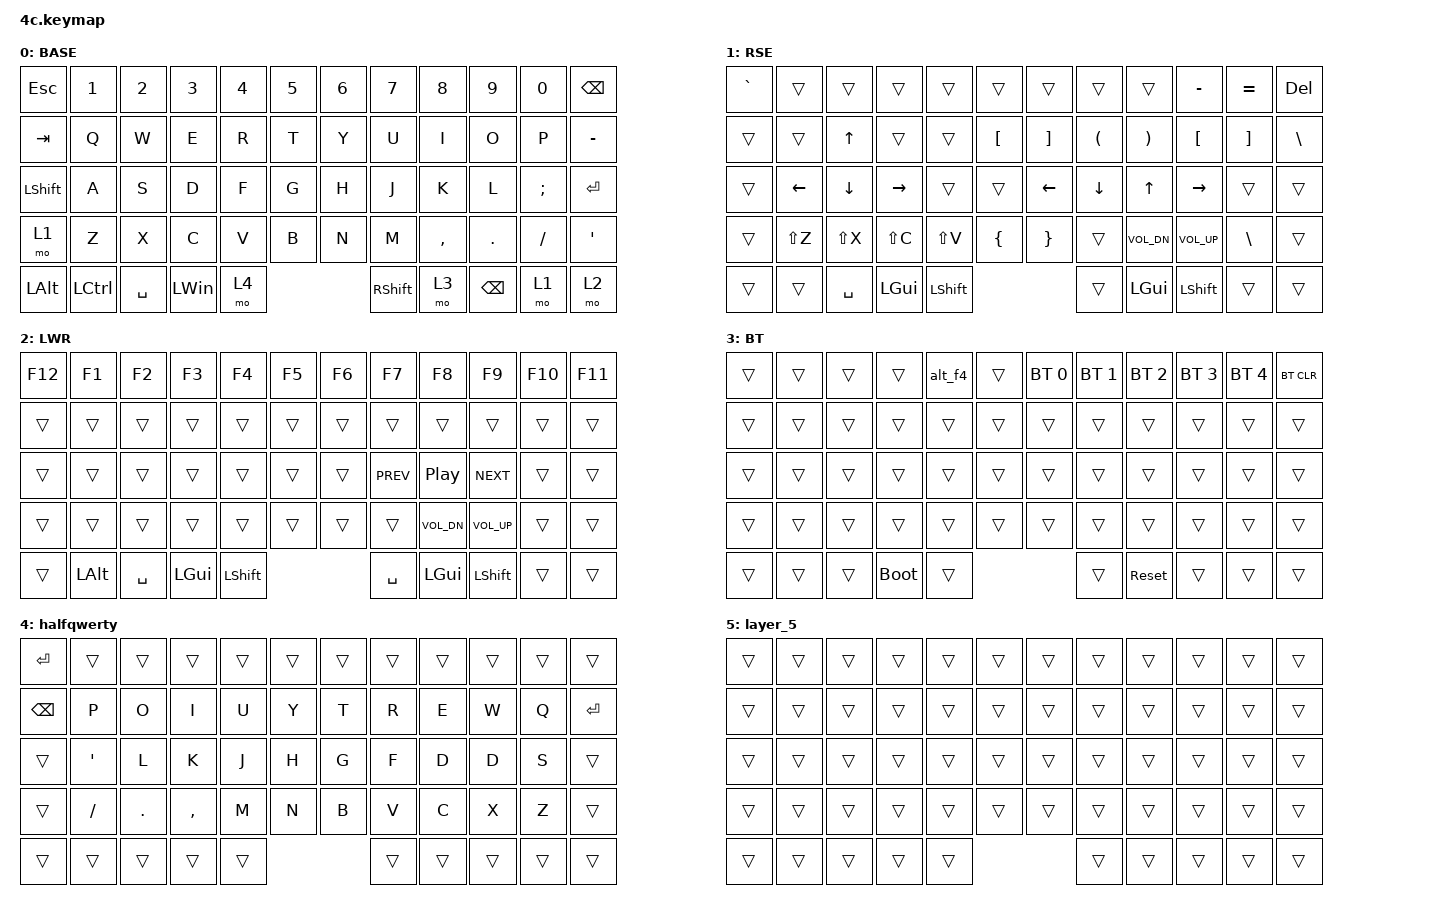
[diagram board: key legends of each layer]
/*
 * Copyright (c) 2020 The ZMK Contributors
 *
 * SPDX-License-Identifier: MIT
 */
/* THIS FILE WAS GENERATED!
 *
 * This file was generated automatically. You may or may not want to
 * edit it directly.
 */

#include <behaviors.dtsi>
#include <dt-bindings/zmk/bt.h>
#include <dt-bindings/zmk/keys.h>

/ {
    combos {
        compatible = "zmk,combos";

        btMo {
            bindings = <&mo 3>;
            key-positions = <56 57>;
        };
    };

    macros {
        codeFence: codeFence {
            compatible = "zmk,behavior-macro";
            label = "new_macro";
            #binding-cells = <0>;
            bindings =
                <&kp GRAVE &kp GRAVE &kp GRAVE &kp RET &kp RET &kp GRAVE &kp GRAVE &kp GRAVE &kp UP>,
                <&macro_press>;
        };

        alt_f4: alt_f4 {
            compatible = "zmk,behavior-macro";
            label = "ALT_F4";
            #binding-cells = <0>;
            bindings = <&kp LALT &kp F4>;
        };
    };

    keymap {
        compatible = "zmk,keymap";

        BASE {
            bindings = <
&kp ESC         &kp NUMBER_1  &kp NUMBER_2  &kp NUMBER_3  &kp NUMBER_4  &kp NUMBER_5    &kp NUMBER_6  &kp NUMBER_7     &kp NUMBER_8  &kp NUMBER_9   &kp NUMBER_0  &kp BACKSPACE
&kp TAB         &kp Q         &kp W         &kp E         &kp R         &kp T           &kp Y         &kp U            &kp I         &kp O          &kp P         &kp MINUS
&kp LEFT_SHIFT  &kp A         &kp S         &kp D         &kp F         &kp G           &kp H         &kp J            &kp K         &kp L          &kp SEMI      &kp ENTER
&mo 1           &kp Z         &kp X         &kp C         &kp V         &kp B           &kp N         &kp M            &kp COMMA     &kp PERIOD     &kp SLASH     &kp SINGLE_QUOTE
&kp LEFT_ALT    &kp LCTRL     &kp SPACE     &kp LEFT_WIN  &mo 4                                       &kp RIGHT_SHIFT  &mo 3         &kp BACKSPACE  &mo 1         &mo 2
            >;
        };

        RSE {
            bindings = <
&kp GRAVE  &trans     &trans     &trans        &trans          &trans              &trans             &trans                &trans                 &kp MINUS         &kp EQUAL          &kp DELETE
&trans     &trans     &kp UP     &trans        &trans          &kp LEFT_BRACKET    &kp RIGHT_BRACKET  &kp LEFT_PARENTHESIS  &kp RIGHT_PARENTHESIS  &kp LEFT_BRACKET  &kp RIGHT_BRACKET  &kp BACKSLASH
&trans     &kp LEFT   &kp DOWN   &kp RIGHT     &trans          &trans              &kp LEFT           &kp DOWN              &kp UP_ARROW           &kp RIGHT         &trans             &trans
&trans     &kp LS(Z)  &kp LS(X)  &kp LS(C)     &kp LS(V)       &kp LEFT_BRACE      &kp RIGHT_BRACE    &trans                &kp C_VOL_DN           &kp C_VOL_UP      &kp BACKSLASH      &trans
&trans     &trans     &kp SPACE  &kp LEFT_GUI  &kp LEFT_SHIFT                                         &trans                &kp LEFT_GUI           &kp LEFT_SHIFT    &trans             &trans
            >;
        };

        LWR {
            bindings = <
&kp F12  &kp F1        &kp F2     &kp F3        &kp F4          &kp F5    &kp F6  &kp F7      &kp F8            &kp F9          &kp F10  &kp F11
&trans   &trans        &trans     &trans        &trans          &trans    &trans  &trans      &trans            &trans          &trans   &trans
&trans   &trans        &trans     &trans        &trans          &trans    &trans  &kp C_PREV  &kp C_PLAY_PAUSE  &kp C_NEXT      &trans   &trans
&trans   &trans        &trans     &trans        &trans          &trans    &trans  &trans      &kp C_VOL_DN      &kp C_VOL_UP    &trans   &trans
&trans   &kp LEFT_ALT  &kp SPACE  &kp LEFT_GUI  &kp LEFT_SHIFT                    &kp SPACE   &kp LEFT_GUI      &kp LEFT_SHIFT  &trans   &trans
            >;
        };

        BT {
            bindings = <
&trans  &trans  &trans  &trans       &alt_f4  &trans    &bt BT_SEL 0  &bt BT_SEL 1  &bt BT_SEL 2  &bt BT_SEL 3  &bt BT_SEL 4  &bt BT_CLR
&trans  &trans  &trans  &trans       &trans   &trans    &trans        &trans        &trans        &trans        &trans        &trans
&trans  &trans  &trans  &trans       &trans   &trans    &trans        &trans        &trans        &trans        &trans        &trans
&trans  &trans  &trans  &trans       &trans   &trans    &trans        &trans        &trans        &trans        &trans        &trans
&trans  &trans  &trans  &bootloader  &trans                           &trans        &sys_reset    &trans        &trans        &trans
            >;
        };

        halfqwerty {
            bindings = <
&kp ENTER      &trans     &trans      &trans     &trans  &trans    &trans  &trans  &trans  &trans  &trans  &trans
&kp BACKSPACE  &kp P      &kp O       &kp I      &kp U   &kp Y     &kp T   &kp R   &kp E   &kp W   &kp Q   &kp ENTER
&trans         &kp APOS   &kp L       &kp K      &kp J   &kp H     &kp G   &kp F   &kp D   &kp D   &kp S   &trans
&trans         &kp SLASH  &kp PERIOD  &kp COMMA  &kp M   &kp N     &kp B   &kp V   &kp C   &kp X   &kp Z   &trans
&trans         &trans     &trans      &trans     &trans                    &trans  &trans  &trans  &trans  &trans
            >;
        };

        layer_5 {
            bindings = <
&trans  &trans  &trans  &trans  &trans  &trans    &trans  &trans  &trans  &trans  &trans  &trans
&trans  &trans  &trans  &trans  &trans  &trans    &trans  &trans  &trans  &trans  &trans  &trans
&trans  &trans  &trans  &trans  &trans  &trans    &trans  &trans  &trans  &trans  &trans  &trans
&trans  &trans  &trans  &trans  &trans  &trans    &trans  &trans  &trans  &trans  &trans  &trans
&trans  &trans  &trans  &trans  &trans                    &trans  &trans  &trans  &trans  &trans
            >;
        };
    };
};
